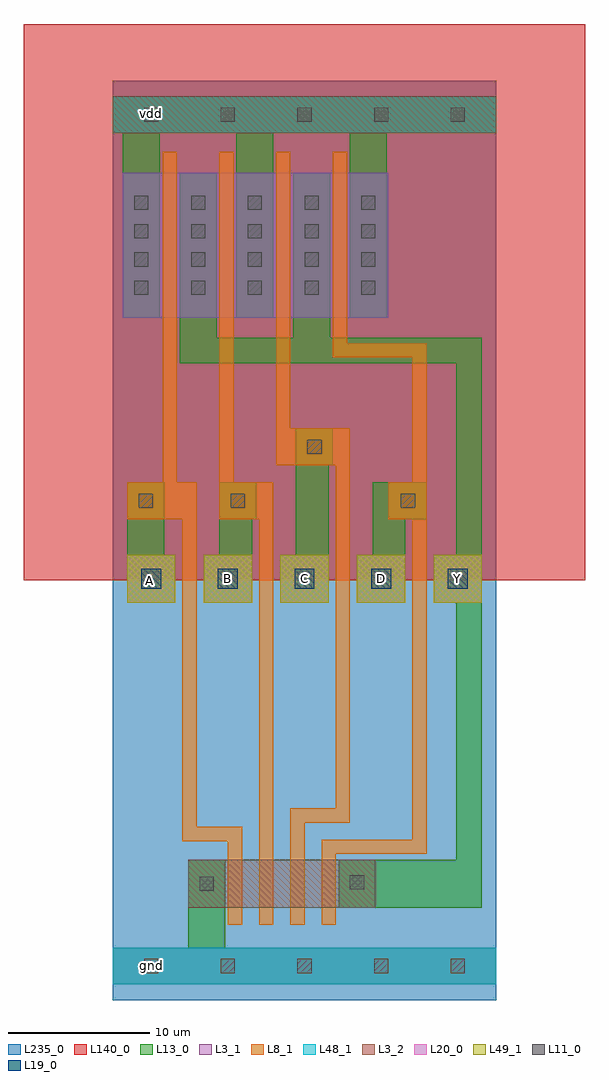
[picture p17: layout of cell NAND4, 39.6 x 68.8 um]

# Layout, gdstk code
import gdstk
lib = gdstk.Library(unit=1e-6, precision=1e-09)
def R(c, l, rs):  # rectangles x0, y0, x1, y1
    for r in rs: c.add(gdstk.rectangle(r[:2], r[2:], *l))
def A(c, l, x, y, w, h, nx, ny, dx, dy):  # array of equal rectangles
    R(c, l, [(x+i*dx, y+j*dy, x+i*dx+w, y+j*dy+h) for i in range(nx) for j in range(ny)])
def P(c, l, *ps):  # polygons
    for p in ps: c.add(gdstk.Polygon(p, *l))
L3_1 = (3, 1)
L3_2 = (3, 2)
L8_1 = (8, 1)
L11_0 = (11, 0)
L13_0 = (13, 0)
L19_0 = (19, 0)
L20_0 = (20, 0)
L48_1 = (48, 1)
L49_1 = (49, 1)
L140_0 = (140, 0)
L235_0 = (235, 0)

nand4 = lib.new_cell('NAND4')
R(nand4, L3_1, [(0,1.1,27,3.7), (0.7,48.1,7.3,58.3), (4.7,48.1,11.3,58.3), (11.3,48.1,19.4,58.3)])
R(nand4, L3_2, [(5.3,6.5,18.5,9.9), (0,61.1,27,63.7)])
P(nand4, L8_1, [(12.5,5.3),(12.5,13.5),(15.7,13.5),(15.7,37.7),(11.5,37.7),(11.5,59.8),(12.5,59.8),(12.5,40.3),(16.7,40.3),(16.7,12.5),(13.5,12.5),(13.5,5.3)],
  [(14.7,5.3),(14.7,11.3),(21.1,11.3),(21.1,33.9),(19.4,33.9),(19.4,36.5),(21.1,36.5),(21.1,45.3),(15.5,45.3),(15.5,59.8),(16.5,59.8),(16.5,46.3),(22.1,46.3),(22.1,10.3),(15.7,10.3),(15.7,5.3)],
  [(10.3,5.3),(10.3,13),(10.3,33.9),(7.5,33.9),(7.5,36.5),(7.5,59.8),(8.5,59.8),(8.5,36.5),(11.3,36.5),(11.3,12),(11.3,5.3)],
  [(8.1,5.3),(8.1,11.2),(4.9,11.2),(4.9,33.9),(1,33.9),(1,36.5),(3.5,36.5),(3.5,59.8),(4.5,59.8),(4.5,36.5),(5.9,36.5),(5.9,12.2),(9.1,12.2),(9.1,5.3)])
A(nand4, L11_0, 1.5, 49.7, 1, 1, 5, 4, 4, 2)
R(nand4, L11_0, [(2.2,1.9,3.2,2.9), (7.6,1.9,8.6,2.9), (7.6,1.9,8.6,2.9), (13,1.9,14,2.9), (13,1.9,14,2.9), (18.4,1.9,19.4,2.9), (18.4,1.9,19.4,2.9), (23.8,1.9,24.8,2.9), (6.1,7.7,7.1,8.7), (16.7,7.8,17.7,8.8), (1.8,34.7,2.8,35.7), (8.3,34.7,9.3,35.7), (20.3,34.7,21.3,35.7), (13.7,38.5,14.7,39.5), (2.2,61.9,3.2,62.9), (2.2,61.9,3.2,62.9), (7.6,61.9,8.6,62.9), (7.6,61.9,8.6,62.9), (7.6,61.9,8.6,62.9), (7.6,61.9,8.6,62.9), (13,61.9,14,62.9), (13,61.9,14,62.9), (18.4,61.9,19.4,62.9), (18.4,61.9,19.4,62.9), (23.8,61.9,24.8,62.9)])
A(nand4, L13_0, 0.7, 48.1, 2.6, 13, 3, 1, 8, 0)
R(nand4, L13_0, [(5.3,3.7,7.9,9.9), (1,28,4.4,31.4), (1,28,4.4,31.4), (6.4,28,9.8,31.4), (6.4,28,9.8,31.4), (11.8,28,15.2,31.4), (11.8,28,15.2,31.4), (17.2,28,20.6,31.4), (17.2,28,20.6,31.4), (22.6,28,26,31.4), (1,31.4,3.6,36.5), (12.7,46.7,15.3,58.3), (0,61.1,27,63.7)])
P(nand4, L13_0, [(12.9,31.4),(12.9,40.3),(15.5,40.3),(15.5,37.7),(15.2,37.7),(15.2,31.4)],
  [(18.3,31.4),(18.3,36.5),(22.1,36.5),(22.1,33.9),(20.6,33.9),(20.6,31.4)],
  [(15.9,6.5),(15.9,9.9),(24.2,9.9),(24.2,28),(22.6,28),(22.6,31.4),(24.2,31.4),(24.2,44.9),(4.7,44.9),(4.7,58.3),(7.3,58.3),(7.3,46.7),(26,46.7),(26,6.5)],
  [(0,1.1),(0,3.7),(0.7,3.7),(3.3,3.7),(27,3.7),(27,1.1)],
  [(7.5,31.4),(7.5,36.5),(10.1,36.5),(10.1,33.9),(9.8,33.9),(9.8,31.4)])
A(nand4, L19_0, 2, 29, 1.4, 1.4, 5, 1, 5.4, 0)
A(nand4, L20_0, 1, 28, 3.4, 3.4, 5, 1, 5.4, 0)
R(nand4, L48_1, [(0,1.1,27,3.7), (0,61.1,27,63.7)])
A(nand4, L49_1, 1, 28, 3.4, 3.4, 5, 1, 5.4, 0)
R(nand4, L140_0, [(-6.3,29.6,33.3,68.8)])
R(nand4, L235_0, [(0,0,27,64.8)])
nand4.add(gdstk.Label('Y', (24.3,29.7), layer=49, texttype=0))
nand4.add(gdstk.Label('C', (13.5,29.7), layer=49, texttype=0))
nand4.add(gdstk.Label('D', (18.9,29.7), layer=49, texttype=0))
nand4.add(gdstk.Label('A', (2.6,29.6), layer=49, texttype=0))
nand4.add(gdstk.Label('B', (8.1,29.7), layer=49, texttype=0))
nand4.add(gdstk.Label('gnd', (2.7,2.4), layer=48, texttype=0))
nand4.add(gdstk.Label('vdd', (2.7,62.5), layer=48, texttype=0))

lib.write_gds('NAND4.gds')
